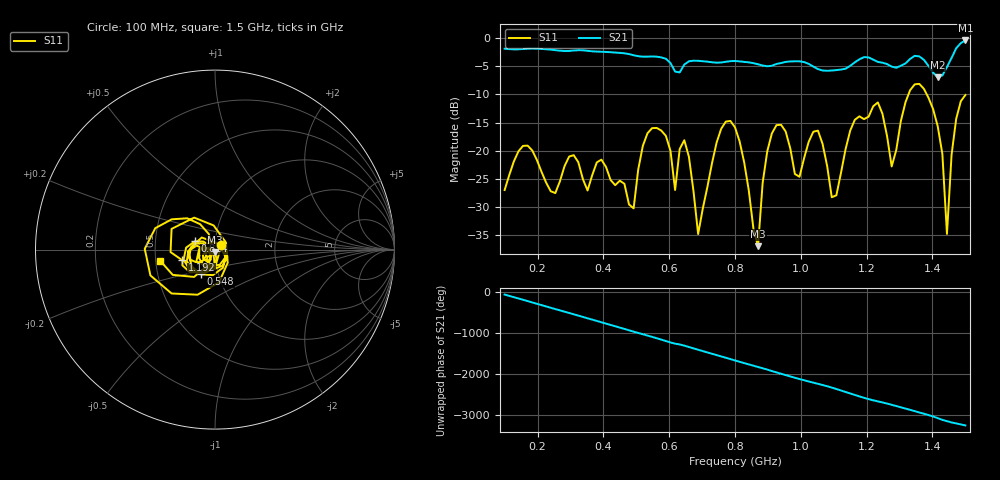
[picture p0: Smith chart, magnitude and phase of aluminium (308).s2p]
! NanoVNA-App
! Date: 2025-09-25 14:57:40
! Start: 100MHz Stop: 1,5GHz Points: 101
! S-Parameter data: F S11 S21 S12 S22
# Hz S RI R 50
!  Frequency  S11_Real  S11_Imag  S21_Real  S21_Imag  S12_Real  S12_Imag  S22_Real  S22_Imag
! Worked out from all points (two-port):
!   101 points, 100 MHz to 1.5 GHz, reference 50 ohm
!   highest |S21| = -0.46 dB at 1.5 GHz (marker M1); lowest = -7.0 dB at 1.416 GHz (marker M2)
!   |S21| within 3 dB of the highest: start of sweep to 576.1 MHz; 1.459 GHz to end of sweep (the widest 2 of 4)
!   lowest |S11| = -36.9 dB at 870 MHz (marker M3), VSWR 1.03, Z = 49.9 - j1.42 ohm
!   |S11| at or under -10 dB: start of sweep to 1.327 GHz; 1.383 GHz to end of sweep
!   S12 and S22 are empty: the file has one direction only
!   S11 on the Smith chart (normalised r, x): 100 MHz: 1.07, +0.06; 548 MHz: 0.82, -0.23; 814 MHz: 0.80, +0.07; 1.192 GHz: 0.69, -0.08; 1.5 GHz: 0.53, -0.07
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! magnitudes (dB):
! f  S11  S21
! 100 MHz  -27.0  -1.9
! 338 MHz  -25.0  -2.2
! 492 MHz  -30.2  -3.1
! 548 MHz  -16.0  -3.3
! 576 MHz  -16.4  -3.5
! 618 MHz  -26.9  -6.0
! 646 MHz  -18.1  -4.7
! 688 MHz  -34.8  -4.1
! 800 MHz  -15.8  -4.1
! 814 MHz  -18.3  -4.2
! 870 MHz  -36.9  -4.7
! 912 MHz  -16.9  -4.9
! 996 MHz  -24.6  -4.2
! 1.038 GHz  -16.6  -5.1
! 1.094 GHz  -28.2  -5.8
! 1.192 GHz  -14.4  -3.4
! 1.276 GHz  -22.8  -5.1
! 1.346 GHz  -8.2  -3.2
! 1.416 GHz  -15.7  -7.0
! 1.444 GHz  -34.7  -5.2
! 1.472 GHz  -14.4  -1.8
! 1.5 GHz  -10.1  -0.5
